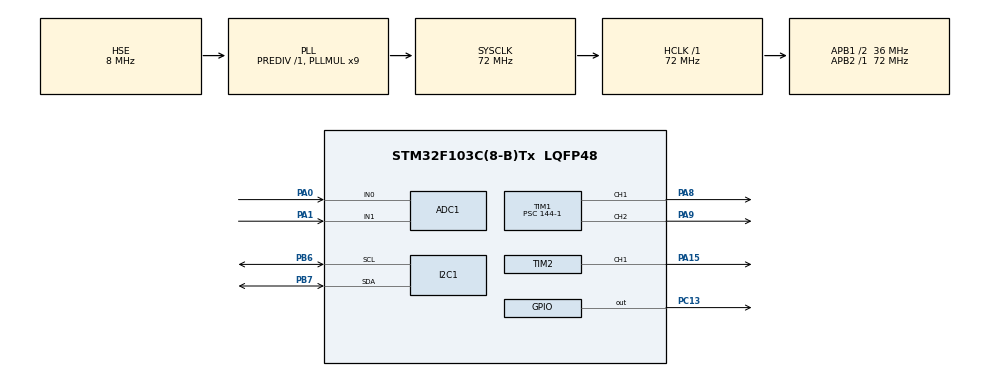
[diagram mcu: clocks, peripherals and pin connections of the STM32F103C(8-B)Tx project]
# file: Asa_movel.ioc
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ADC1.Channel-0\#ChannelRegularConversion=ADC_CHANNEL_0
ADC1.Channel-1\#ChannelRegularConversion=ADC_CHANNEL_1
ADC1.ContinuousConvMode=DISABLE
ADC1.ExternalTrigConv=ADC_EXTERNALTRIGCONV_T3_TRGO
ADC1.NbrOfConversion=2
ADC1.NbrOfConversionFlag=1
ADC1.Rank-0\#ChannelRegularConversion=1
ADC1.Rank-1\#ChannelRegularConversion=2
ADC1.SamplingTime-0\#ChannelRegularConversion=ADC_SAMPLETIME_239CYCLES_5
ADC1.SamplingTime-1\#ChannelRegularConversion=ADC_SAMPLETIME_239CYCLES_5
ADC1.master=1
Dma.ADC1.0.Direction=DMA_PERIPH_TO_MEMORY
Dma.ADC1.0.Instance=DMA1_Channel1
Dma.ADC1.0.MemDataAlignment=DMA_MDATAALIGN_WORD
Dma.ADC1.0.MemInc=DMA_MINC_ENABLE
Dma.ADC1.0.Mode=DMA_CIRCULAR
Dma.ADC1.0.PeriphDataAlignment=DMA_PDATAALIGN_WORD
Dma.ADC1.0.PeriphInc=DMA_PINC_DISABLE
Dma.ADC1.0.Priority=DMA_PRIORITY_HIGH
Dma.Request0=ADC1
I2C1.I2C_Mode=I2C_Standard
Mcu.Family=STM32F1
Mcu.Name=STM32F103C(8-B)Tx
Mcu.Package=LQFP48
NVIC.ADC1_2_IRQn=true\:0\:0\:false\:false\:true\:true\:true
NVIC.DMA1_Channel1_IRQn=true\:0\:0\:false\:false\:true\:false\:true
NVIC.I2C1_EV_IRQn=true\:0\:0\:false\:false\:true\:true\:true
NVIC.PriorityGroup=NVIC_PRIORITYGROUP_4
NVIC.TIM1_BRK_IRQn=true\:0\:0\:false\:false\:true\:true\:true
NVIC.TIM1_CC_IRQn=true\:0\:0\:false\:false\:true\:true\:true
NVIC.TIM1_TRG_COM_IRQn=true\:0\:0\:false\:false\:true\:true\:true
NVIC.TIM1_UP_IRQn=true\:0\:0\:false\:false\:true\:true\:true
NVIC.TIM2_IRQn=true\:0\:0\:false\:false\:true\:true\:true
PA0-WKUP.Signal=ADCx_IN0
PA1.Signal=ADCx_IN1
PA13.Mode=Serial_Wire
PA13.Signal=SYS_JTMS-SWDIO
PA14.Mode=Serial_Wire
PA14.Signal=SYS_JTCK-SWCLK
PA15.Signal=S_TIM2_CH1_ETR
PA8.Signal=S_TIM1_CH1
PA9.Signal=S_TIM1_CH2
PB6.Mode=I2C
PB6.Signal=I2C1_SCL
PB7.Mode=I2C
PB7.Signal=I2C1_SDA
PC13-TAMPER-RTC.Signal=GPIO_Output
PD0-OSC_IN.Mode=HSE-External-Oscillator
PD0-OSC_IN.Signal=RCC_OSC_IN
PD1-OSC_OUT.Mode=HSE-External-Oscillator
PD1-OSC_OUT.Signal=RCC_OSC_OUT
ProjectManager.HeapSize=0x200
ProjectManager.StackSize=0x400
ProjectManager.TargetToolchain=TrueSTUDIO
RCC.ADCPresc=RCC_ADCPCLK2_DIV6
RCC.AHBFreq_Value=72000000
RCC.APB1CLKDivider=RCC_HCLK_DIV2
RCC.APB1Freq_Value=36000000
RCC.APB1TimFreq_Value=72000000
RCC.APB2Freq_Value=72000000
RCC.APB2TimFreq_Value=72000000
RCC.HCLKFreq_Value=72000000
RCC.PLLMUL=RCC_PLL_MUL9
RCC.PLLSourceVirtual=RCC_PLLSOURCE_HSE
RCC.SYSCLKFreq_VALUE=72000000
RCC.SYSCLKSource=RCC_SYSCLKSOURCE_PLLCLK
RCC.USBFreq_Value=72000000
SH.ADCx_IN0.0=ADC1_IN0,IN0
SH.ADCx_IN1.0=ADC1_IN1,IN1
SH.S_TIM1_CH1.0=TIM1_CH1,PWM Generation1 CH1
SH.S_TIM1_CH2.0=TIM1_CH2,PWM Generation2 CH2
SH.S_TIM2_CH1_ETR.0=TIM2_CH1,PWM Generation1 CH1
TIM1.AutoReloadPreload=TIM_AUTORELOAD_PRELOAD_DISABLE
TIM1.AutomaticOutput=TIM_AUTOMATICOUTPUT_ENABLE
TIM1.BreakState=TIM_BREAK_DISABLE
TIM1.Channel-PWM\ Generation1\ CH1=TIM_CHANNEL_1
TIM1.Channel-PWM\ Generation2\ CH2=TIM_CHANNEL_2
TIM1.OCFastMode_PWM-PWM\ Generation1\ CH1=TIM_OCFAST_ENABLE
TIM1.OCFastMode_PWM-PWM\ Generation2\ CH2=TIM_OCFAST_ENABLE
TIM1.OCMode_PWM-PWM\ Generation2\ CH2=TIM_OCMODE_PWM1
TIM1.Period=10000-1
TIM1.Prescaler=144-1
TIM1.Pulse-PWM\ Generation1\ CH1=1000
TIM1.Pulse-PWM\ Generation2\ CH2=1000
TIM1.TIM_MasterSlaveMode=TIM_MASTERSLAVEMODE_ENABLE
TIM2.AutoReloadPreload=TIM_AUTORELOAD_PRELOAD_DISABLE
TIM2.Channel-PWM\ Generation1\ CH1=TIM_CHANNEL_1
TIM2.OCFastMode_PWM-PWM\ Generation1\ CH1=TIM_OCFAST_ENABLE
TIM2.Period=10000-1
TIM2.Prescaler=144-1
TIM2.Pulse-PWM\ Generation1\ CH1=1000
TIM2.TIM_MasterSlaveMode=TIM_MASTERSLAVEMODE_ENABLE
TIM3.Period=1439
TIM3.Prescaler=999
TIM3.TIM_MasterOutputTrigger=TIM_TRGO_UPDATE
VP_TIM1_VS_ClockSourceINT.Mode=Internal
VP_TIM2_VS_ClockSourceINT.Mode=Internal
VP_TIM3_VS_ClockSourceINT.Mode=Internal
board=custom

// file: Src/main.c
/* USER CODE BEGIN Header */
/**
  ******************************************************************************
  * @file           : main.c
  * @brief          : Main program body
  ******************************************************************************
  * @attention
  *
  * <h2><center>&copy; Copyright (c) 2019 STMicroelectronics.
  * All rights reserved.</center></h2>
  *
  * This software component is licensed by ST under BSD 3-Clause license,
  * the "License"; You may not use this file except in compliance with the
  * License. You may obtain a copy of the License at:
  *                        opensource.org/licenses/BSD-3-Clause
  *
  ******************************************************************************
  */
/* USER CODE END Header */

#include "main.h"

/* USER CODE BEGIN PD */
#define min_servo 0
#define max_servo 135
#define alfa 0.5
#define bethax1 0.05
#define bethay1 0.05
#define bethax2 0.1
#define bethay2 0.1
/* USER CODE END PD */

ADC_HandleTypeDef hadc1;
DMA_HandleTypeDef hdma_adc1;

I2C_HandleTypeDef hi2c1;

TIM_HandleTypeDef htim1;
TIM_HandleTypeDef htim2;
TIM_HandleTypeDef htim3;

/* USER CODE BEGIN PV */
uint32_t adcVal[2];
uint8_t rawMpu[6];

int16_t xAcc, yAcc, zAcc, Sx1Acc, Sy1Acc, Sx2Acc, Sy2Acc;
int16_t Sy1Accant, Sy2Accant;
uint32_t throttle, brake, throttleAntigo;

int right_angle = 90;
int left_angle = 90;
int meio_servo = (max_servo-min_servo)/2;
int smooth;

//valores de 0 a 4032 correspondendo a conversão do adc (valores obtidos atraves do debug monitor)
float narrow_brake = 4032*0.3;
//float medium_brake = 4032*0.5;
float full_brake = 4032*0.7;

float narrow_throttle = 1865; //4032*0.4554;
//float medium_throttle = 4032*0.5;
float full_throttle = 2393; //4032*0.5948;

float delta_brake, delta_throttle;
float past_brake, past_throttle;

int position;
float m_Brake, m_throttle;
float i_Brake, i_throttle;

int dutyCyle;

HAL_StatusTypeDef stat;
/* USER CODE END PV */

void SystemClock_Config(void);
static void MX_GPIO_Init(void);
static void MX_DMA_Init(void);
static void MX_ADC1_Init(void);
static void MX_I2C1_Init(void);
static void MX_TIM1_Init(void);
static void MX_TIM3_Init(void);
static void MX_TIM2_Init(void);
/* USER CODE BEGIN PFP */
void controle_asa(void);
/* USER CODE END PFP */

int main(void)
{
  /* USER CODE BEGIN 1 */
	uint8_t mpuConfig;
  /* USER CODE END 1 */

  /* MCU Configuration--------------------------------------------------------*/

  /* Reset of all peripherals, Initializes the Flash interface and the Systick. */
  HAL_Init();

  /* Configure the system clock */
  SystemClock_Config();

  /* Initialize all configured peripherals */
  MX_GPIO_Init();
  MX_DMA_Init();
  MX_ADC1_Init();
  MX_I2C1_Init();
  MX_TIM1_Init();
  MX_TIM3_Init();
  MX_TIM2_Init();
  /* USER CODE BEGIN 2 */

  /* configura i2c */
  if(HAL_I2C_IsDeviceReady(&hi2c1, 0xD0, 1, 10) == HAL_OK){	//if importante porque nem sempre o modulo vai estar pronto antes do stm depois do hardware reset
	  mpuConfig = 0b00000000;
	  stat = HAL_I2C_Mem_Write(&hi2c1, 0xD0, 0x6B, I2C_MEMADD_SIZE_8BIT, &mpuConfig, 1, 100);

	  stat = HAL_I2C_Mem_Read(&hi2c1, 0xD0, 0x1C, I2C_MEMADD_SIZE_8BIT, &mpuConfig, 1, 100);
	  mpuConfig |= (1<<3);
	  mpuConfig |= (1<<4);
	  stat = HAL_I2C_Mem_Write(&hi2c1, 0xD0, 0x1C, I2C_MEMADD_SIZE_8BIT, &mpuConfig, 1, 100);
  }else{
	  HAL_GPIO_WritePin(GPIOC, GPIO_PIN_13, GPIO_PIN_SET);
	  HAL_Delay(100);
	  HAL_GPIO_WritePin(GPIOC, GPIO_PIN_13, GPIO_PIN_RESET);
	  HAL_Delay(100);
	  HAL_GPIO_WritePin(GPIOC, GPIO_PIN_13, GPIO_PIN_SET);
	  HAL_Delay(100);
	  NVIC_SystemReset(); // Software Reset
  }

  /* inicia adc */
  HAL_TIM_Base_Start(&htim3);
  HAL_ADC_Start_IT(&hadc1);
  HAL_ADCEx_Calibration_Start(&hadc1);
  HAL_Delay(10);
  HAL_ADC_Start_DMA(&hadc1, (uint32_t *)adcVal, 2);

  /* inicia pwm */
  HAL_TIM_PWM_Init(&htim1);
  HAL_TIM_PWM_Init(&htim2);

  HAL_TIM_PWM_Start(&htim1, TIM_CHANNEL_1);
  HAL_TIM_PWM_Start(&htim1, TIM_CHANNEL_2);
  HAL_TIM_PWM_Start(&htim2, TIM_CHANNEL_1);

  /* linear conversion */
  m_Brake = (min_servo-meio_servo)/(full_brake - narrow_brake);
  m_throttle = (min_servo-max_servo)/(full_throttle - narrow_throttle);

  i_Brake = -(m_Brake*full_brake) + min_servo;
  i_throttle = -(m_throttle*full_throttle) + min_servo;

  /* dancing in the dark */

  right_angle = ((180-meio_servo) * 5.4) + 220;
  htim1.Instance->CCR1 = right_angle;
  left_angle = (meio_servo * 5.4) + 220;
  htim2.Instance->CCR1 = left_angle;
  HAL_Delay(1000);

  right_angle = ((180 - max_servo) * 5.4) + 220;
  htim1.Instance->CCR1 = right_angle;
  left_angle = (max_servo * 5.4) + 220;
  htim2.Instance->CCR1 = left_angle;
  HAL_Delay(1000);

  right_angle = ((180-min_servo) * 5.4) + 220;
  htim1.Instance->CCR1 = right_angle;
  left_angle = (min_servo * 5.4) + 220;
  htim2.Instance->CCR1 = left_angle;
  HAL_Delay(1000);

  right_angle = ((180-meio_servo) * 5.4) + 220;
  htim1.Instance->CCR1 = right_angle;
  left_angle = (meio_servo * 5.4) + 220;
  htim2.Instance->CCR1 = left_angle;
  HAL_Delay(1000);

  //NVIC_SystemReset(); // Software Reset
  /* USER CODE END 2 */

  /* Infinite loop */
  while (1)
  {

    /* USER CODE BEGIN 3 */

//	  htim1.Instance->CCR1 = ((180-max_servo) * 5.4) + 220;
//	  htim1.Instance->CCR2 = (max_servo * 5.4) + 220;
//	  htim1.Instance->CCR1 = ((180-right_angle) * 5.4) + 220; // varia de 0 graus a 180
//	  htim1.Instance->CCR2 = (left_angle * 5.4) + 220; //220 a 1220 CCR

	  float esqueda = (left_angle * 5.4) + 220;
	  float direita = ((180-right_angle) * 5.4) + 220;
	  htim2.Instance->CCR1 = esqueda; //220 a 1220 CCR
	  htim1.Instance->CCR1 = direita; // varia de 0 graus a 180
	  //HAL_GPIO_TogglePin(GPIOC, GPIO_PIN_13);
	  HAL_Delay(100);

  }

  /* USER CODE END 3 */
}

void SystemClock_Config(void)
{
  RCC_OscInitTypeDef RCC_OscInitStruct = {0};
  RCC_ClkInitTypeDef RCC_ClkInitStruct = {0};
  RCC_PeriphCLKInitTypeDef PeriphClkInit = {0};

  /** Initializes the CPU, AHB and APB busses clocks
  */
  RCC_OscInitStruct.OscillatorType = RCC_OSCILLATORTYPE_HSE;
  RCC_OscInitStruct.HSEState = RCC_HSE_ON;
  RCC_OscInitStruct.HSEPredivValue = RCC_HSE_PREDIV_DIV1;
  RCC_OscInitStruct.HSIState = RCC_HSI_ON;
  RCC_OscInitStruct.PLL.PLLState = RCC_PLL_ON;
  RCC_OscInitStruct.PLL.PLLSource = RCC_PLLSOURCE_HSE;
  RCC_OscInitStruct.PLL.PLLMUL = RCC_PLL_MUL9;
  if (HAL_RCC_OscConfig(&RCC_OscInitStruct) != HAL_OK)
  {
    Error_Handler();
  }
  /** Initializes the CPU, AHB and APB busses clocks
  */
  RCC_ClkInitStruct.ClockType = RCC_CLOCKTYPE_HCLK|RCC_CLOCKTYPE_SYSCLK
                              |RCC_CLOCKTYPE_PCLK1|RCC_CLOCKTYPE_PCLK2;
  RCC_ClkInitStruct.SYSCLKSource = RCC_SYSCLKSOURCE_PLLCLK;
  RCC_ClkInitStruct.AHBCLKDivider = RCC_SYSCLK_DIV1;
  RCC_ClkInitStruct.APB1CLKDivider = RCC_HCLK_DIV2;
  RCC_ClkInitStruct.APB2CLKDivider = RCC_HCLK_DIV1;

  if (HAL_RCC_ClockConfig(&RCC_ClkInitStruct, FLASH_LATENCY_2) != HAL_OK)
  {
    Error_Handler();
  }
  PeriphClkInit.PeriphClockSelection = RCC_PERIPHCLK_ADC;
  PeriphClkInit.AdcClockSelection = RCC_ADCPCLK2_DIV6;
  if (HAL_RCCEx_PeriphCLKConfig(&PeriphClkInit) != HAL_OK)
  {
    Error_Handler();
  }
}

static void MX_ADC1_Init(void)
{

  ADC_ChannelConfTypeDef sConfig = {0};

  /** Common config
  */
  hadc1.Instance = ADC1;
  hadc1.Init.ScanConvMode = ADC_SCAN_ENABLE;
  hadc1.Init.ContinuousConvMode = DISABLE;
  hadc1.Init.DiscontinuousConvMode = DISABLE;
  hadc1.Init.ExternalTrigConv = ADC_EXTERNALTRIGCONV_T3_TRGO;
  hadc1.Init.DataAlign = ADC_DATAALIGN_RIGHT;
  hadc1.Init.NbrOfConversion = 2;
  if (HAL_ADC_Init(&hadc1) != HAL_OK)
  {
    Error_Handler();
  }
  /** Configure Regular Channel
  */
  sConfig.Channel = ADC_CHANNEL_0;
  sConfig.Rank = ADC_REGULAR_RANK_1;
  sConfig.SamplingTime = ADC_SAMPLETIME_239CYCLES_5;
  if (HAL_ADC_ConfigChannel(&hadc1, &sConfig) != HAL_OK)
  {
    Error_Handler();
  }
  /** Configure Regular Channel
  */
  sConfig.Channel = ADC_CHANNEL_1;
  sConfig.Rank = ADC_REGULAR_RANK_2;
  if (HAL_ADC_ConfigChannel(&hadc1, &sConfig) != HAL_OK)
  {
    Error_Handler();
  }

}

static void MX_I2C1_Init(void)
{

  hi2c1.Instance = I2C1;
  hi2c1.Init.ClockSpeed = 100000;
  hi2c1.Init.DutyCycle = I2C_DUTYCYCLE_2;
  hi2c1.Init.OwnAddress1 = 0;
  hi2c1.Init.AddressingMode = I2C_ADDRESSINGMODE_7BIT;
  hi2c1.Init.DualAddressMode = I2C_DUALADDRESS_DISABLE;
  hi2c1.Init.OwnAddress2 = 0;
  hi2c1.Init.GeneralCallMode = I2C_GENERALCALL_DISABLE;
  hi2c1.Init.NoStretchMode = I2C_NOSTRETCH_DISABLE;
  if (HAL_I2C_Init(&hi2c1) != HAL_OK)
  {
    Error_Handler();
  }

}

static void MX_TIM1_Init(void)
{

  TIM_ClockConfigTypeDef sClockSourceConfig = {0};
  TIM_MasterConfigTypeDef sMasterConfig = {0};
  TIM_OC_InitTypeDef sConfigOC = {0};
  TIM_BreakDeadTimeConfigTypeDef sBreakDeadTimeConfig = {0};

  htim1.Instance = TIM1;
  htim1.Init.Prescaler = 144-1;
  htim1.Init.CounterMode = TIM_COUNTERMODE_UP;
  htim1.Init.Period = 10000-1;
  htim1.Init.ClockDivision = TIM_CLOCKDIVISION_DIV1;
  htim1.Init.RepetitionCounter = 0;
  htim1.Init.AutoReloadPreload = TIM_AUTORELOAD_PRELOAD_DISABLE;
  if (HAL_TIM_Base_Init(&htim1) != HAL_OK)
  {
    Error_Handler();
  }
  sClockSourceConfig.ClockSource = TIM_CLOCKSOURCE_INTERNAL;
  if (HAL_TIM_ConfigClockSource(&htim1, &sClockSourceConfig) != HAL_OK)
  {
    Error_Handler();
  }
  if (HAL_TIM_PWM_Init(&htim1) != HAL_OK)
  {
    Error_Handler();
  }
  sMasterConfig.MasterOutputTrigger = TIM_TRGO_RESET;
  sMasterConfig.MasterSlaveMode = TIM_MASTERSLAVEMODE_ENABLE;
  if (HAL_TIMEx_MasterConfigSynchronization(&htim1, &sMasterConfig) != HAL_OK)
  {
    Error_Handler();
  }
  sConfigOC.OCMode = TIM_OCMODE_PWM1;
  sConfigOC.Pulse = 1000;
  sConfigOC.OCPolarity = TIM_OCPOLARITY_HIGH;
  sConfigOC.OCNPolarity = TIM_OCNPOLARITY_HIGH;
  sConfigOC.OCFastMode = TIM_OCFAST_ENABLE;
  sConfigOC.OCIdleState = TIM_OCIDLESTATE_RESET;
  sConfigOC.OCNIdleState = TIM_OCNIDLESTATE_RESET;
  if (HAL_TIM_PWM_ConfigChannel(&htim1, &sConfigOC, TIM_CHANNEL_1) != HAL_OK)
  {
    Error_Handler();
  }
  if (HAL_TIM_PWM_ConfigChannel(&htim1, &sConfigOC, TIM_CHANNEL_2) != HAL_OK)
  {
    Error_Handler();
  }
  sBreakDeadTimeConfig.OffStateRunMode = TIM_OSSR_DISABLE;
  sBreakDeadTimeConfig.OffStateIDLEMode = TIM_OSSI_DISABLE;
  sBreakDeadTimeConfig.LockLevel = TIM_LOCKLEVEL_OFF;
  sBreakDeadTimeConfig.DeadTime = 0;
  sBreakDeadTimeConfig.BreakState = TIM_BREAK_DISABLE;
  sBreakDeadTimeConfig.BreakPolarity = TIM_BREAKPOLARITY_HIGH;
  sBreakDeadTimeConfig.AutomaticOutput = TIM_AUTOMATICOUTPUT_ENABLE;
  if (HAL_TIMEx_ConfigBreakDeadTime(&htim1, &sBreakDeadTimeConfig) != HAL_OK)
  {
    Error_Handler();
  }
  HAL_TIM_MspPostInit(&htim1);

}

static void MX_TIM2_Init(void)
{

  TIM_ClockConfigTypeDef sClockSourceConfig = {0};
  TIM_MasterConfigTypeDef sMasterConfig = {0};
  TIM_OC_InitTypeDef sConfigOC = {0};

  htim2.Instance = TIM2;
  htim2.Init.Prescaler = 144-1;
  htim2.Init.CounterMode = TIM_COUNTERMODE_UP;
  htim2.Init.Period = 10000-1;
  htim2.Init.ClockDivision = TIM_CLOCKDIVISION_DIV1;
  htim2.Init.AutoReloadPreload = TIM_AUTORELOAD_PRELOAD_DISABLE;
  if (HAL_TIM_Base_Init(&htim2) != HAL_OK)
  {
    Error_Handler();
  }
  sClockSourceConfig.ClockSource = TIM_CLOCKSOURCE_INTERNAL;
  if (HAL_TIM_ConfigClockSource(&htim2, &sClockSourceConfig) != HAL_OK)
  {
    Error_Handler();
  }
  if (HAL_TIM_PWM_Init(&htim2) != HAL_OK)
  {
    Error_Handler();
  }
  sMasterConfig.MasterOutputTrigger = TIM_TRGO_RESET;
  sMasterConfig.MasterSlaveMode = TIM_MASTERSLAVEMODE_ENABLE;
  if (HAL_TIMEx_MasterConfigSynchronization(&htim2, &sMasterConfig) != HAL_OK)
  {
    Error_Handler();
  }
  sConfigOC.OCMode = TIM_OCMODE_PWM1;
  sConfigOC.Pulse = 1000;
  sConfigOC.OCPolarity = TIM_OCPOLARITY_HIGH;
  sConfigOC.OCFastMode = TIM_OCFAST_ENABLE;
  if (HAL_TIM_PWM_ConfigChannel(&htim2, &sConfigOC, TIM_CHANNEL_1) != HAL_OK)
  {
    Error_Handler();
  }
  HAL_TIM_MspPostInit(&htim2);

}

static void MX_TIM3_Init(void)
{

  TIM_ClockConfigTypeDef sClockSourceConfig = {0};
  TIM_MasterConfigTypeDef sMasterConfig = {0};

  htim3.Instance = TIM3;
  htim3.Init.Prescaler = 999;
  htim3.Init.CounterMode = TIM_COUNTERMODE_UP;
  htim3.Init.Period = 1439;
  htim3.Init.ClockDivision = TIM_CLOCKDIVISION_DIV1;
  htim3.Init.AutoReloadPreload = TIM_AUTORELOAD_PRELOAD_DISABLE;
  if (HAL_TIM_Base_Init(&htim3) != HAL_OK)
  {
    Error_Handler();
  }
  sClockSourceConfig.ClockSource = TIM_CLOCKSOURCE_INTERNAL;
  if (HAL_TIM_ConfigClockSource(&htim3, &sClockSourceConfig) != HAL_OK)
  {
    Error_Handler();
  }
  sMasterConfig.MasterOutputTrigger = TIM_TRGO_UPDATE;
  sMasterConfig.MasterSlaveMode = TIM_MASTERSLAVEMODE_DISABLE;
  if (HAL_TIMEx_MasterConfigSynchronization(&htim3, &sMasterConfig) != HAL_OK)
  {
    Error_Handler();
  }

}

static void MX_DMA_Init(void)
{

  /* DMA controller clock enable */
  __HAL_RCC_DMA1_CLK_ENABLE();

  /* DMA interrupt init */
  /* DMA1_Channel1_IRQn interrupt configuration */
  HAL_NVIC_SetPriority(DMA1_Channel1_IRQn, 0, 0);
  HAL_NVIC_EnableIRQ(DMA1_Channel1_IRQn);

}

static void MX_GPIO_Init(void)
{
  GPIO_InitTypeDef GPIO_InitStruct = {0};

  /* GPIO Ports Clock Enable */
  __HAL_RCC_GPIOC_CLK_ENABLE();
  __HAL_RCC_GPIOD_CLK_ENABLE();
  __HAL_RCC_GPIOA_CLK_ENABLE();
  __HAL_RCC_GPIOB_CLK_ENABLE();

  /*Configure GPIO pin Output Level */
  HAL_GPIO_WritePin(GPIOC, GPIO_PIN_13, GPIO_PIN_RESET);

  /*Configure GPIO pin : PC13 */
  GPIO_InitStruct.Pin = GPIO_PIN_13;
  GPIO_InitStruct.Mode = GPIO_MODE_OUTPUT_PP;
  GPIO_InitStruct.Pull = GPIO_NOPULL;
  GPIO_InitStruct.Speed = GPIO_SPEED_FREQ_LOW;
  HAL_GPIO_Init(GPIOC, &GPIO_InitStruct);

}

/* USER CODE BEGIN 4 */
void HAL_ADC_ConvCpltCallback(ADC_HandleTypeDef* hadc)
{
  HAL_I2C_Mem_Read_IT(&hi2c1, 0xD0, 0x3B, I2C_MEMADD_SIZE_8BIT, rawMpu, 6);
}

void HAL_I2C_MemRxCpltCallback(I2C_HandleTypeDef *hi2c)
{
	xAcc = (rawMpu[0] << 8) | (0x00F0 & rawMpu[1]);
	yAcc = (rawMpu[2] << 8) | (0x00F0 & rawMpu[3]);
	zAcc = (rawMpu[4] << 8) | (0x00F0 & rawMpu[5]);

	Sx1Acc = (bethax1*xAcc)+((1-bethax1)*Sx1Acc);
	Sx2Acc = (bethax2*Sx1Acc)+((1-bethax2)*Sx2Acc);

	Sy1Acc = (bethay1*yAcc)+((1-bethay1)*Sy1Accant);
	Sy1Accant = Sy1Acc;
	Sy2Acc = (bethay2*Sy1Acc)+((1-bethay2)*Sy2Accant);
	 Sy2Accant = Sy1Acc;

	throttle = adcVal[0];
	brake = adcVal[1];
	smooth = (alfa*throttle)+((1-alfa)*throttleAntigo);
	throttleAntigo = smooth;

	controle_asa();
}

void controle_asa()
{

	if (Sy2Acc < 1000 && Sy2Acc > -1000) { // fica entre a faixa de -0.5g e 0.5g de aceleração lateral
		if (Sx2Acc > 1000) {
			position = 2;
		} else {
			position = 4;
		}
	} else {
		position = 2;
	}
//	position = 4;
	switch (position) {
		case 1: // full opened
			right_angle = min_servo;
			left_angle = min_servo;
			break;

		case 2: // full closed
			right_angle = max_servo;
			left_angle = max_servo;
			break;

		case 3: // close linear
//			right_angle = m_Brake*brake + i_Brake;
			right_angle = m_throttle*smooth + i_throttle;

			if(right_angle > max_servo)
				right_angle = max_servo;
//			if(right_angle < meio_servo)
//				right_angle = meio_servo;
			if(right_angle < min_servo)
				right_angle = min_servo;
			left_angle = right_angle;
			break;

		case 4: // open linear
//			right_angle = m_throttle*throttle + i_throttle;
			right_angle = m_throttle*smooth + i_throttle;
//			right_angle = m_Brake*brake + i_Brake;

			if(right_angle > max_servo)
				right_angle = max_servo;
//			if(right_angle < meio_servo)
//				right_angle = meio_servo;
			if(right_angle < min_servo)
				right_angle = min_servo;

			left_angle = right_angle;
			break;

		default: // middle
			right_angle = meio_servo;
			left_angle = meio_servo;
			break;
	}

//	float esqueda = (left_angle * 5.4) + 220;
//	float direita = ((180-right_angle) * 5.4) + 220;
//
//	htim2.Instance->CCR1 = esqueda; //220 a 1220 CCR
//	htim1.Instance->CCR1 = direita; // varia de 0 graus a 180
	HAL_GPIO_TogglePin(GPIOC, GPIO_PIN_13);
}

/* USER CODE END 4 */

void Error_Handler(void)
{
  /* USER CODE BEGIN Error_Handler_Debug */
  /* User can add his own implementation to report the HAL error return state */
	while(1){
		HAL_GPIO_WritePin(GPIOC, GPIO_PIN_13,GPIO_PIN_SET);
	}
  /* USER CODE END Error_Handler_Debug */
}

/************************ (C) COPYRIGHT STMicroelectronics *****END OF FILE****/
